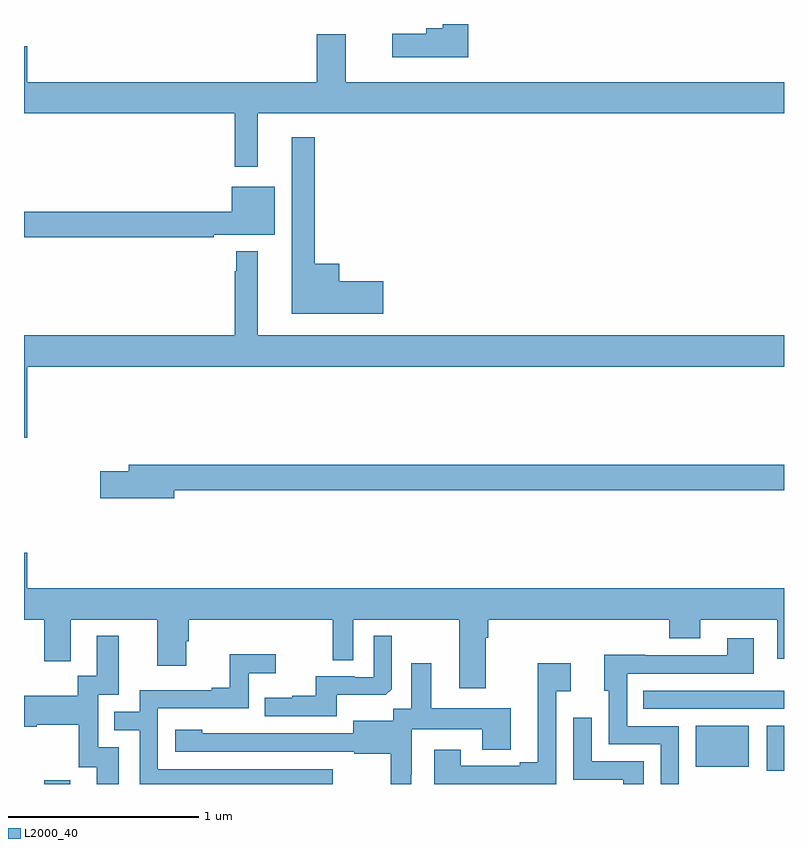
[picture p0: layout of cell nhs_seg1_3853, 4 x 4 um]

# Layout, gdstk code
import gdstk
lib = gdstk.Library(unit=1e-6, precision=1e-09)
def R(c, l, rs):  # rectangles x0, y0, x1, y1
    for r in rs: c.add(gdstk.rectangle(r[:2], r[2:], *l))
def P(c, l, *ps):  # polygons
    for p in ps: c.add(gdstk.Polygon(p, *l))
L2000_40 = (2000, 40)

nhs_seg1_3853 = lib.new_cell('nhs_seg1_3853')
R(nhs_seg1_3853, L2000_40, [(321.107,552.199,321.244,552.22), (324.908,552.269,325,552.505), (324.536,552.29,324.814,552.505)])
P(nhs_seg1_3853, L2000_40, [(323.339,556.199),(323.204,556.199),(323.204,556.177),(323.117,556.177),(323.117,556.147),(322.938,556.147),(322.938,556.025),(323.339,556.025)],
  [(322.231,555.728),(325,555.728),(325,555.892),(322.693,555.892),(322.693,556.144),(322.541,556.144),(322.541,555.892),(321.016,555.892),(321.016,556.081),(321,556.081),(321,555.728),(322.11,555.728),(322.11,555.447),(322.231,555.447)],
  [(322.891,554.846),(322.66,554.846),(322.66,554.938),(322.531,554.938),(322.531,555.604),(322.409,555.604),(322.409,554.675),(322.891,554.675)],
  [(321.998,555.089),(322.321,555.089),(322.321,555.343),(322.094,555.343),(322.094,555.212),(321,555.212),(321,555.076),(321.998,555.076)],
  [(321.016,554.396),(325,554.396),(325,554.56),(322.231,554.56),(322.231,555.004),(322.116,555.004),(322.116,554.897),(322.11,554.897),(322.11,554.56),(321,554.56),(321,554.022),(321.016,554.022)],
  [(321.79,553.744),(325,553.744),(325,553.88),(321.551,553.88),(321.551,553.844),(321.402,553.844),(321.402,553.702),(321.79,553.702)],
  [(323.431,552.968),(323.444,552.968),(323.444,553.064),(324.395,553.064),(324.395,552.965),(324.559,552.965),(324.559,553.064),(324.965,553.064),(324.965,552.858),(325,552.858),(325,553.228),(321.016,553.228),(321.016,553.417),(321,553.417),(321,553.064),(321.107,553.064),(321.107,552.846),(321.247,552.846),(321.247,553.064),(321.701,553.064),(321.701,552.822),(321.853,552.822),(321.853,552.951),(321.866,552.951),(321.866,553.064),(322.626,553.064),(322.626,552.85),(322.734,552.85),(322.734,553.064),(323.291,553.064),(323.291,552.702),(323.431,552.702)],
  [(321.499,552.393),(321.39,552.393),(321.39,552.669),(321.499,552.669),(321.499,552.979),(321.383,552.979),(321.383,552.77),(321.282,552.77),(321.282,552.664),(321,552.664),(321,552.5),(321.067,552.5),(321.067,552.512),(321.287,552.512),(321.287,552.288),(321.383,552.288),(321.383,552.199),(321.499,552.199)],
  [(322.645,552.668),(322.903,552.668),(322.935,552.699),(322.935,552.979),(322.842,552.979),(322.842,552.762),(322.742,552.762),(322.742,552.765),(322.535,552.765),(322.535,552.664),(322.411,552.664),(322.411,552.652),(322.267,552.652),(322.267,552.555),(322.645,552.555)],
  [(324.447,552.504),(324.174,552.504),(324.174,552.78),(324.841,552.78),(324.841,552.967),(324.701,552.967),(324.701,552.876),(324.271,552.876),(324.271,552.878),(324.053,552.878),(324.053,552.69),(324.078,552.69),(324.078,552.408),(324.351,552.408),(324.351,552.199),(324.447,552.199)],
  [(322.624,552.276),(321.705,552.276),(321.705,552.597),(322.182,552.597),(322.182,552.782),(322.324,552.782),(322.324,552.881),(322.084,552.881),(322.084,552.706),(321.989,552.706),(321.989,552.693),(321.609,552.693),(321.609,552.579),(321.475,552.579),(321.475,552.483),(321.609,552.483),(321.609,552.199),(322.624,552.199)],
  [(323.802,552.686),(323.878,552.686),(323.878,552.835),(323.705,552.835),(323.705,552.313),(323.609,552.313),(323.609,552.294),(323.299,552.294),(323.299,552.379),(323.159,552.379),(323.159,552.199),(323.802,552.199)],
  [(323.038,552.247),(323.04,552.247),(323.04,552.488),(323.411,552.488),(323.411,552.379),(323.563,552.379),(323.563,552.598),(323.143,552.598),(323.143,552.835),(323.039,552.835),(323.039,552.596),(322.944,552.596),(322.944,552.532),(322.733,552.532),(322.733,552.465),(322.175,552.465),(322.175,552.466),(321.939,552.466),(321.939,552.484),(321.795,552.484),(321.795,552.369),(322.737,552.369),(322.737,552.357),(322.929,552.357),(322.929,552.199),(323.038,552.199)],
  [(325,552.691),(324.937,552.691),(324.937,552.69),(324.259,552.69),(324.259,552.594),(325,552.594)],
  [(324.261,552.318),(323.988,552.318),(323.988,552.547),(323.892,552.547),(323.892,552.221),(324.154,552.221),(324.154,552.199),(324.261,552.199)])

lib.write_gds('nhs_seg1_3853.gds')
